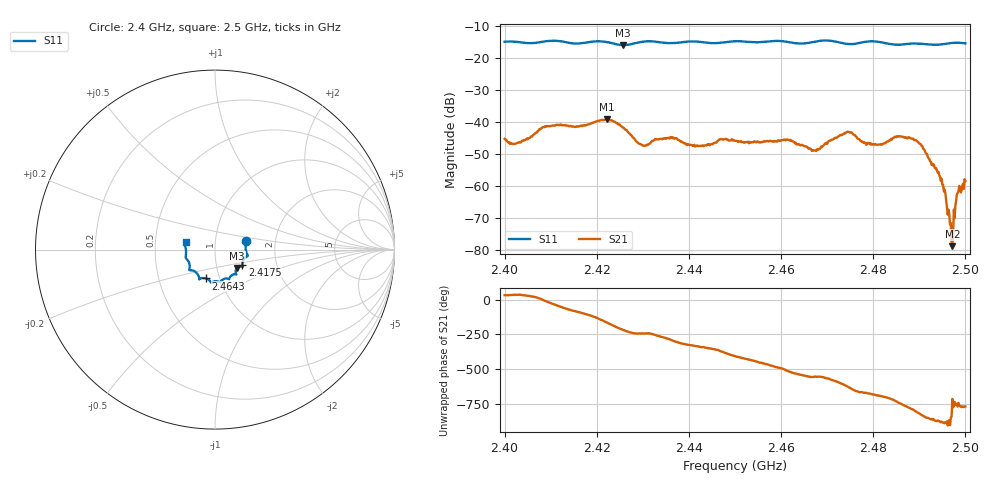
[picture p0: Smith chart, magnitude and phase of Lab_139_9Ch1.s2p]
# Hz S RI R 50
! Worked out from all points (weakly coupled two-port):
!   601 points, 2.4 GHz to 2.5 GHz, reference 50 ohm
!   highest |S21| = -39.21 dB at 2.4222 GHz (marker M1); lowest = -78.9 dB at 2.4972 GHz (marker M2)
!   lowest |S11| = -16.0 dB at 2.4257 GHz (marker M3), VSWR 1.38, Z = 62.4 - j13.1 ohm
!   |S11| at or under -10 dB: start of sweep to end of sweep
!   S12 and S22 are empty: the file has one direction only
!   S11 on the Smith chart (normalised r, x): 2.4 GHz: 1.41, +0.14; 2.4175 GHz: 1.34, -0.23; 2.4643 GHz: 0.86, -0.29; 2.5 GHz: 0.72, +0.06
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2.4e9  0.1729 0.0488  0.00461 0.00289  0 0  0 0
2.402167e9  0.1756 0.0399  0.00373 0.00259  0 0  0 0
2.408667e9  0.18 -0.0266  0.00825 -0.001  0 0  0 0
2.416667e9  0.1532 -0.0744  -0.000833 -0.00871  0 0  0 0
2.4175e9  0.1521 -0.0838  -0.00198 -0.00866  0 0  0 0
2.422167e9  0.1504 -0.0954  -0.0105 -0.00303  0 0  0 0
2.425667e9  0.1225 -0.1019  -0.00652 0.00491  0 0  0 0
2.43e9  0.1175 -0.1364  -0.002 0.00377  0 0  0 0
2.433333e9  0.1129 -0.1373  -0.000859 0.00529  0 0  0 0
2.45e9  0.0289 -0.1809  0.00356 -0.00362  0 0  0 0
2.464333e9  -0.0499 -0.1608  -0.00435 7.99e-05  0 0  0 0
2.466667e9  -0.076 -0.1593  -0.00341 0.000929  0 0  0 0
2.474333e9  -0.1003 -0.1326  -0.000866 0.00694  0 0  0 0
2.478167e9  -0.1365 -0.1154  0.00306 0.00365  0 0  0 0
2.483333e9  -0.1407 -0.0899  0.0049 0.00108  0 0  0 0
2.488167e9  -0.1609 -0.0491  0.00237 -0.005  0 0  0 0
2.490667e9  -0.1627 -0.0366  -0.00162 -0.00386  0 0  0 0
2.494667e9  -0.1629 0.00626  -0.00113 -0.000394  0 0  0 0
2.496667e9  -0.1689 0.0247  -0.000248 8.81e-06  0 0  0 0
2.497167e9  -0.17 0.028  0.000113 1.22e-05  0 0  0 0
2.498333e9  -0.1702 0.0339  0.000521 -0.000579  0 0  0 0
2.5e9  -0.1639 0.0427  0.000813 -0.000877  0 0  0 0
